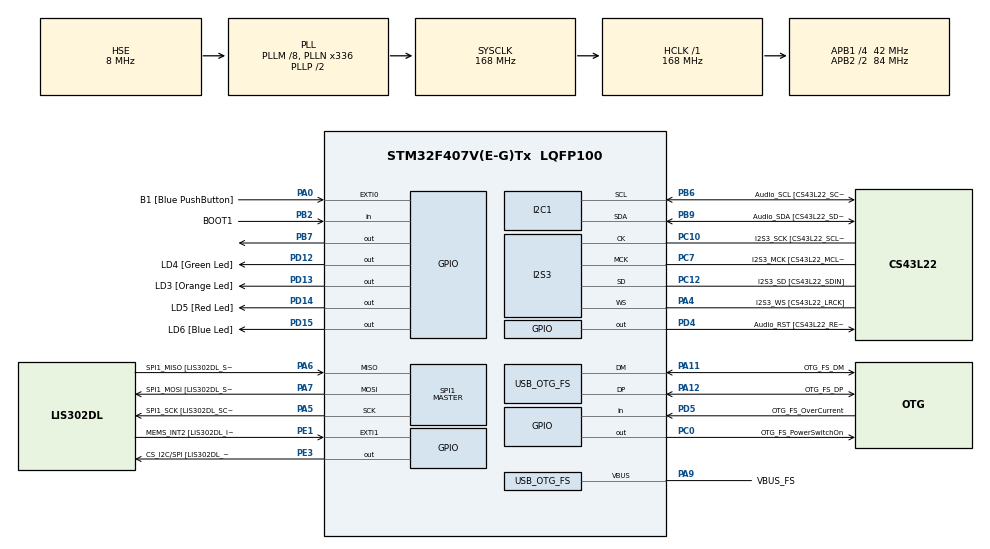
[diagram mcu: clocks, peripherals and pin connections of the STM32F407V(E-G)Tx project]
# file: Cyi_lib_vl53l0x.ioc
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I2S3.AudioFreq-Half_Duplex_Master=I2S_AUDIOFREQ_96K
I2S3.ErrorAudioFreq=-2.34 %
I2S3.ErrorAudioFreq-Half_Duplex_Master=0.8 %
I2S3.FullDuplexMode=I2S_FULLDUPLEXMODE_DISABLE
I2S3.Instance=SPI$Index
I2S3.RealAudioFreq=93.75 KHz
I2S3.RealAudioFreq-Half_Duplex_Master=96.774 KHz
I2S3.VirtualMode=I2S_MODE_MASTER
Mcu.Family=STM32F4
Mcu.Name=STM32F407V(E-G)Tx
Mcu.Package=LQFP100
NVIC.OTG_FS_IRQn=true\:0\:0\:false\:false\:true\:true\:true
NVIC.PriorityGroup=NVIC_PRIORITYGROUP_0
PA0-WKUP.GPIO_Label=B1 [Blue PushButton]
PA0-WKUP.GPIO_ModeDefaultEXTI=GPIO_MODE_EVT_RISING
PA0-WKUP.GPIO_PuPd=GPIO_NOPULL
PA0-WKUP.Signal=GPXTI0
PA10.GPIO_Label=OTG_FS_ID
PA10.GPIO_Mode=GPIO_MODE_AF_PP
PA10.GPIO_PuPd=GPIO_NOPULL
PA10.GPIO_Speed=GPIO_SPEED_FREQ_LOW
PA10.Signal=USB_OTG_FS_ID
PA11.GPIO_Label=OTG_FS_DM
PA11.GPIO_Mode=GPIO_MODE_AF_PP
PA11.GPIO_PuPd=GPIO_NOPULL
PA11.GPIO_Speed=GPIO_SPEED_FREQ_LOW
PA11.Mode=Host_Only
PA11.Signal=USB_OTG_FS_DM
PA12.GPIO_Label=OTG_FS_DP
PA12.GPIO_Mode=GPIO_MODE_AF_PP
PA12.GPIO_PuPd=GPIO_NOPULL
PA12.GPIO_Speed=GPIO_SPEED_FREQ_LOW
PA12.Mode=Host_Only
PA12.Signal=USB_OTG_FS_DP
PA13.GPIO_Label=SWDIO
PA13.Mode=Serial_Wire
PA13.Signal=SYS_JTMS-SWDIO
PA14.GPIO_Label=SWCLK
PA14.Mode=Serial_Wire
PA14.Signal=SYS_JTCK-SWCLK
PA4.GPIO_Label=I2S3_WS [CS43L22_LRCK]
PA4.GPIO_Mode=GPIO_MODE_AF_PP
PA4.GPIO_PuPd=GPIO_NOPULL
PA4.GPIO_Speed=GPIO_SPEED_FREQ_LOW
PA4.Mode=Half_Duplex_Master
PA4.Signal=I2S3_WS
PA5.GPIO_Label=SPI1_SCK [LIS302DL_SCL/SPC]
PA5.GPIO_Mode=GPIO_MODE_AF_PP
PA5.GPIO_PuPd=GPIO_NOPULL
PA5.GPIO_Speed=GPIO_SPEED_FREQ_LOW
PA5.Mode=Full_Duplex_Master
PA5.Signal=SPI1_SCK
PA6.GPIO_Label=SPI1_MISO [LIS302DL_SDO]
PA6.GPIO_Mode=GPIO_MODE_AF_PP
PA6.GPIO_PuPd=GPIO_NOPULL
PA6.GPIO_Speed=GPIO_SPEED_FREQ_LOW
PA6.Mode=Full_Duplex_Master
PA6.Signal=SPI1_MISO
PA7.GPIO_Label=SPI1_MOSI [LIS302DL_SDA/SDI/SDO]
PA7.GPIO_Mode=GPIO_MODE_AF_PP
PA7.GPIO_PuPd=GPIO_NOPULL
PA7.GPIO_Speed=GPIO_SPEED_FREQ_LOW
PA7.Mode=Full_Duplex_Master
PA7.Signal=SPI1_MOSI
PA9.GPIO_Label=VBUS_FS
PA9.GPIO_Mode=GPIO_MODE_INPUT
PA9.GPIO_PuPd=GPIO_NOPULL
PA9.Mode=Activate_VBUS
PA9.Signal=USB_OTG_FS_VBUS
PB10.GPIO_Label=CLK_IN [MP45DT02_CLK]
PB10.GPIO_Mode=GPIO_MODE_AF_PP
PB10.GPIO_PuPd=GPIO_NOPULL
PB10.GPIO_Speed=GPIO_SPEED_FREQ_LOW
PB10.Signal=I2S2_CK
PB2.GPIO_Label=BOOT1
PB2.GPIO_Mode=GPIO_MODE_INPUT
PB2.GPIO_PuPd=GPIO_NOPULL
PB2.Signal=GPIO_Input
PB3.GPIO_Label=SWO
PB3.Signal=SYS_JTDO-SWO
PB6.GPIO_Label=Audio_SCL [CS43L22_SCL]
PB6.GPIO_Mode=GPIO_MODE_AF_OD
PB6.GPIO_PuPd=GPIO_NOPULL
PB6.GPIO_Speed=GPIO_SPEED_FREQ_LOW
PB6.Mode=I2C
PB6.Signal=I2C1_SCL
PB7.Signal=GPIO_Output
PB9.GPIO_Label=Audio_SDA [CS43L22_SDA]
PB9.GPIO_Mode=GPIO_MODE_AF_OD
PB9.GPIO_PuPd=GPIO_NOPULL
PB9.GPIO_Speed=GPIO_SPEED_FREQ_LOW
PB9.Mode=I2C
PB9.Signal=I2C1_SDA
PC0.GPIO_Label=OTG_FS_PowerSwitchOn
PC0.GPIO_PuPd=GPIO_NOPULL
PC0.GPIO_Speed=GPIO_SPEED_FREQ_LOW
PC0.PinState=GPIO_PIN_SET
PC0.Signal=GPIO_Output
PC10.GPIO_Label=I2S3_SCK [CS43L22_SCLK]
PC10.GPIO_Mode=GPIO_MODE_AF_PP
PC10.GPIO_PuPd=GPIO_NOPULL
PC10.GPIO_Speed=GPIO_SPEED_FREQ_LOW
PC10.Mode=Half_Duplex_Master
PC10.Signal=I2S3_CK
PC12.GPIO_Label=I2S3_SD [CS43L22_SDIN]
PC12.GPIO_Mode=GPIO_MODE_AF_PP
PC12.GPIO_PuPd=GPIO_NOPULL
PC12.GPIO_Speed=GPIO_SPEED_FREQ_LOW
PC12.Mode=Half_Duplex_Master
PC12.Signal=I2S3_SD
PC14-OSC32_IN.GPIO_Label=PC14-OSC32_IN
PC14-OSC32_IN.Mode=LSE-External-Oscillator
PC14-OSC32_IN.Signal=RCC_OSC32_IN
PC15-OSC32_OUT.GPIO_Label=PC15-OSC32_OUT
PC15-OSC32_OUT.Mode=LSE-External-Oscillator
PC15-OSC32_OUT.Signal=RCC_OSC32_OUT
PC3.GPIO_Label=PDM_OUT [MP45DT02_DOUT]
PC3.GPIO_Mode=GPIO_MODE_AF_PP
PC3.GPIO_PuPd=GPIO_NOPULL
PC3.GPIO_Speed=GPIO_SPEED_FREQ_LOW
PC3.Signal=I2S2_SD
PC7.GPIO_Label=I2S3_MCK [CS43L22_MCLK]
PC7.GPIO_Mode=GPIO_MODE_AF_PP
PC7.GPIO_PuPd=GPIO_NOPULL
PC7.GPIO_Speed=GPIO_SPEED_FREQ_LOW
PC7.Mode=Master_Clock_Activated
PC7.Signal=I2S3_MCK
PD12.GPIO_Label=LD4 [Green Led]
PD12.GPIO_PuPd=GPIO_NOPULL
PD12.GPIO_Speed=GPIO_SPEED_FREQ_LOW
PD12.Signal=GPIO_Output
PD13.GPIO_Label=LD3 [Orange Led]
PD13.GPIO_PuPd=GPIO_NOPULL
PD13.GPIO_Speed=GPIO_SPEED_FREQ_LOW
PD13.Signal=GPIO_Output
PD14.GPIO_Label=LD5 [Red Led]
PD14.GPIO_PuPd=GPIO_NOPULL
PD14.GPIO_Speed=GPIO_SPEED_FREQ_LOW
PD14.Signal=GPIO_Output
PD15.GPIO_Label=LD6 [Blue Led]
PD15.GPIO_PuPd=GPIO_NOPULL
PD15.GPIO_Speed=GPIO_SPEED_FREQ_LOW
PD15.Signal=GPIO_Output
PD4.GPIO_Label=Audio_RST [CS43L22_RESET]
PD4.GPIO_PuPd=GPIO_NOPULL
PD4.GPIO_Speed=GPIO_SPEED_FREQ_LOW
PD4.Signal=GPIO_Output
PD5.GPIO_Label=OTG_FS_OverCurrent
PD5.GPIO_Mode=GPIO_MODE_INPUT
PD5.GPIO_PuPd=GPIO_NOPULL
PD5.Signal=GPIO_Input
PE1.GPIO_Label=MEMS_INT2 [LIS302DL_INT2]
PE1.GPIO_ModeDefaultEXTI=GPIO_MODE_EVT_RISING
PE1.GPIO_PuPd=GPIO_NOPULL
PE1.Signal=GPXTI1
PE3.GPIO_Label=CS_I2C/SPI [LIS302DL_CS_I2C/SPI]
PE3.GPIO_PuPd=GPIO_NOPULL
PE3.GPIO_Speed=GPIO_SPEED_FREQ_LOW
PE3.Signal=GPIO_Output
PH0-OSC_IN.GPIO_Label=PH0-OSC_IN
PH0-OSC_IN.Mode=HSE-External-Oscillator
PH0-OSC_IN.Signal=RCC_OSC_IN
PH1-OSC_OUT.GPIO_Label=PH1-OSC_OUT
PH1-OSC_OUT.Mode=HSE-External-Oscillator
PH1-OSC_OUT.Signal=RCC_OSC_OUT
ProjectManager.HeapSize=0x200
ProjectManager.StackSize=0x400
ProjectManager.TargetToolchain=SW4STM32
RCC.48MHZClocksFreq_Value=48000000
RCC.AHBFreq_Value=168000000
RCC.APB1CLKDivider=RCC_HCLK_DIV4
RCC.APB1Freq_Value=42000000
RCC.APB1TimFreq_Value=84000000
RCC.APB2CLKDivider=RCC_HCLK_DIV2
RCC.APB2Freq_Value=84000000
RCC.APB2TimFreq_Value=168000000
RCC.CortexFreq_Value=168000000
RCC.HCLKFreq_Value=168000000
RCC.HSE_VALUE=8000000
RCC.HSI_VALUE=16000000
RCC.PLLM=8
RCC.PLLN=336
RCC.PLLQ=7
RCC.SYSCLKFreq_VALUE=168000000
RCC.SYSCLKSource=RCC_SYSCLKSOURCE_PLLCLK
RCC.VCOOutputFreq_Value=336000000
SPI1.BaudRatePrescaler-Full_Duplex_Master=SPI_BAUDRATEPRESCALER_2
SPI1.CalculateBaudRate-Full_Duplex_Master=42.0 MBits/s
SPI1.Direction=SPI_DIRECTION_2LINES
SPI1.Mode=SPI_MODE_MASTER
SPI1.Mode-Full_Duplex_Master=SPI_MODE_MASTER
SPI1.VirtualType=VM_MASTER
USB_HOST.BSP.number=1
USB_HOST.USBH_HandleTypeDef-CDC_FS=hUsbHostFS
USB_HOST.VirtualModeFS=Cdc
USB_HOST0.BSP.STBoard=false
USB_HOST0.BSP.api=Unknown
USB_HOST0.BSP.i2caddr=0
USB_HOST0.BSP.i2creg=0
USB_HOST0.BSP.instance=PC0
USB_HOST0.BSP.ip=GPIO
USB_HOST0.BSP.mode=Output
USB_HOST0.BSP.name=Drive_VBUS_FS
USB_HOST0.BSP.solution=PC0
USB_OTG_FS.VirtualMode=Host_Only
USB_OTG_FS.phy_itface=HCD_PHY_EMBEDDED
VP_USB_HOST_VS_USB_HOST_CDC_FS.Mode=CDC_FS
board=STM32F407G-DISC1

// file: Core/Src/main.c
/* USER CODE BEGIN Header */
/**
  ******************************************************************************
  * @file           : main.c
  * @brief          : Main program body
  ******************************************************************************
  * @attention
  *
  * <h2><center>&copy; Copyright (c) 2020 STMicroelectronics.
  * All rights reserved.</center></h2>
  *
  * This software component is licensed by ST under Ultimate Liberty license
  * SLA0044, the "License"; You may not use this file except in compliance with
  * the License. You may obtain a copy of the License at:
  *                             www.st.com/SLA0044
  *
  ******************************************************************************
  */
/* USER CODE END Header */
#include "main.h"
#include "usb_host.h"

/* USER CODE BEGIN Includes */
#include "VL53L0X.h"
/* USER CODE END Includes */

/* USER CODE BEGIN PTD */

#define LONG_RANGE

// Uncomment ONE of these two lines to get
// - higher speed at the cost of lower accuracy OR
// - higher accuracy at the cost of lower speed

//#define HIGH_SPEED
//#define HIGH_ACCURACY
/* USER CODE END PTD */

I2C_HandleTypeDef hi2c1;

I2S_HandleTypeDef hi2s3;

SPI_HandleTypeDef hspi1;

void SystemClock_Config(void);
static void MX_GPIO_Init(void);
static void MX_I2C1_Init(void);
static void MX_I2S3_Init(void);
static void MX_SPI1_Init(void);
void MX_USB_HOST_Process(void);

/* USER CODE BEGIN 0 */
struct VL53L0X myTOFsensor = {.io_2v8 = true, .address = 0x52, .io_timeout = 500, .did_timeout = false,.hi2c = &hi2c1};
uint16_t value;
uint16_t tick;
/* USER CODE END 0 */

int main(void)
{

  /* MCU Configuration--------------------------------------------------------*/

  /* Reset of all peripherals, Initializes the Flash interface and the Systick. */
  HAL_Init();

  /* Configure the system clock */
  SystemClock_Config();

  /* Initialize all configured peripherals */
  MX_GPIO_Init();
  MX_I2C1_Init();
  MX_I2S3_Init();
  MX_SPI1_Init();
  MX_USB_HOST_Init();
  /* USER CODE BEGIN 2 */
  /*
  uint8_t write_temp[2] = {0x23,0x46};
  uint8_t data_t[3];
  uint8_t memAdd[1] = {0xC0};
  uint16_t range_val;
*/
  HAL_GPIO_WritePin(GPIOB,GPIO_PIN_7,RESET);
  HAL_Delay(2);
  HAL_GPIO_WritePin(GPIOB,GPIO_PIN_7,SET);
  HAL_Delay(2);
	 VL53L0X_init(&myTOFsensor);
#ifdef LONG_RANGE
	// lower the return signal rate limit (default is 0.25 MCPS)
	VL53L0X_setSignalRateLimit(&myTOFsensor, 0.1);
	// increase laser pulse periods (defaults are 14 and 10 PCLKs)
	VL53L0X_setVcselPulsePeriod(&myTOFsensor, VcselPeriodPreRange, 18);
	VL53L0X_setVcselPulsePeriod(&myTOFsensor, VcselPeriodFinalRange, 14);
#endif
#ifdef HIGH_SPEED
	// reduce timing budget to 20 ms (default is about 33 ms)
	VL53L0X_setMeasurementTimingBudget(&myTOFsensor, 20000);

#else //HIGH_ACCURACY
	// increase timing budget to 200 ms
	VL53L0X_setMeasurementTimingBudget(&myTOFsensor, 200000);
#endif

	VL53L0X_startContinuous(&myTOFsensor, 0);
  /* USER CODE END 2 */

  /* Infinite loop */
  while (1)
  {
    MX_USB_HOST_Process();

    /* USER CODE BEGIN 3 */
	 //I2C_writemem(&hi2c1,0x52,write_temp,3);
	// HAL_I2C_Master_Transmit(&hi2c1,0x52,write_temp,3,100);
	 //VL53L0X_setAddress(0x56);
	// I2C_readmem(&hi2c1,0x52,0x23,data_t,3);
	 //write_temp[1]++;
     tick = HAL_GetTick();
     value = VL53L0X_readRangeContinuousMillimeters(&myTOFsensor);

    		 if ( VL53L0X_timeoutOccurred(&myTOFsensor) ) {

    		 }

  }
  /* USER CODE END 3 */
}

void SystemClock_Config(void)
{
  RCC_OscInitTypeDef RCC_OscInitStruct = {0};
  RCC_ClkInitTypeDef RCC_ClkInitStruct = {0};
  RCC_PeriphCLKInitTypeDef PeriphClkInitStruct = {0};

  /** Configure the main internal regulator output voltage
  */
  __HAL_RCC_PWR_CLK_ENABLE();
  __HAL_PWR_VOLTAGESCALING_CONFIG(PWR_REGULATOR_VOLTAGE_SCALE1);
  /** Initializes the RCC Oscillators according to the specified parameters
  * in the RCC_OscInitTypeDef structure.
  */
  RCC_OscInitStruct.OscillatorType = RCC_OSCILLATORTYPE_HSE;
  RCC_OscInitStruct.HSEState = RCC_HSE_ON;
  RCC_OscInitStruct.PLL.PLLState = RCC_PLL_ON;
  RCC_OscInitStruct.PLL.PLLSource = RCC_PLLSOURCE_HSE;
  RCC_OscInitStruct.PLL.PLLM = 8;
  RCC_OscInitStruct.PLL.PLLN = 336;
  RCC_OscInitStruct.PLL.PLLP = RCC_PLLP_DIV2;
  RCC_OscInitStruct.PLL.PLLQ = 7;
  if (HAL_RCC_OscConfig(&RCC_OscInitStruct) != HAL_OK)
  {
    Error_Handler();
  }
  /** Initializes the CPU, AHB and APB buses clocks
  */
  RCC_ClkInitStruct.ClockType = RCC_CLOCKTYPE_HCLK|RCC_CLOCKTYPE_SYSCLK
                              |RCC_CLOCKTYPE_PCLK1|RCC_CLOCKTYPE_PCLK2;
  RCC_ClkInitStruct.SYSCLKSource = RCC_SYSCLKSOURCE_PLLCLK;
  RCC_ClkInitStruct.AHBCLKDivider = RCC_SYSCLK_DIV1;
  RCC_ClkInitStruct.APB1CLKDivider = RCC_HCLK_DIV4;
  RCC_ClkInitStruct.APB2CLKDivider = RCC_HCLK_DIV2;

  if (HAL_RCC_ClockConfig(&RCC_ClkInitStruct, FLASH_LATENCY_5) != HAL_OK)
  {
    Error_Handler();
  }
  PeriphClkInitStruct.PeriphClockSelection = RCC_PERIPHCLK_I2S;
  PeriphClkInitStruct.PLLI2S.PLLI2SN = 192;
  PeriphClkInitStruct.PLLI2S.PLLI2SR = 2;
  if (HAL_RCCEx_PeriphCLKConfig(&PeriphClkInitStruct) != HAL_OK)
  {
    Error_Handler();
  }
}

static void MX_I2C1_Init(void)
{

  hi2c1.Instance = I2C1;
  hi2c1.Init.ClockSpeed = 100000;
  hi2c1.Init.DutyCycle = I2C_DUTYCYCLE_2;
  hi2c1.Init.OwnAddress1 = 0;
  hi2c1.Init.AddressingMode = I2C_ADDRESSINGMODE_7BIT;
  hi2c1.Init.DualAddressMode = I2C_DUALADDRESS_DISABLE;
  hi2c1.Init.OwnAddress2 = 0;
  hi2c1.Init.GeneralCallMode = I2C_GENERALCALL_DISABLE;
  hi2c1.Init.NoStretchMode = I2C_NOSTRETCH_DISABLE;
  if (HAL_I2C_Init(&hi2c1) != HAL_OK)
  {
    Error_Handler();
  }

}

static void MX_I2S3_Init(void)
{

  hi2s3.Instance = SPI3;
  hi2s3.Init.Mode = I2S_MODE_MASTER_TX;
  hi2s3.Init.Standard = I2S_STANDARD_PHILIPS;
  hi2s3.Init.DataFormat = I2S_DATAFORMAT_16B;
  hi2s3.Init.MCLKOutput = I2S_MCLKOUTPUT_ENABLE;
  hi2s3.Init.AudioFreq = I2S_AUDIOFREQ_96K;
  hi2s3.Init.CPOL = I2S_CPOL_LOW;
  hi2s3.Init.ClockSource = I2S_CLOCK_PLL;
  hi2s3.Init.FullDuplexMode = I2S_FULLDUPLEXMODE_DISABLE;
  if (HAL_I2S_Init(&hi2s3) != HAL_OK)
  {
    Error_Handler();
  }

}

static void MX_SPI1_Init(void)
{

  /* SPI1 parameter configuration*/
  hspi1.Instance = SPI1;
  hspi1.Init.Mode = SPI_MODE_MASTER;
  hspi1.Init.Direction = SPI_DIRECTION_2LINES;
  hspi1.Init.DataSize = SPI_DATASIZE_8BIT;
  hspi1.Init.CLKPolarity = SPI_POLARITY_LOW;
  hspi1.Init.CLKPhase = SPI_PHASE_1EDGE;
  hspi1.Init.NSS = SPI_NSS_SOFT;
  hspi1.Init.BaudRatePrescaler = SPI_BAUDRATEPRESCALER_2;
  hspi1.Init.FirstBit = SPI_FIRSTBIT_MSB;
  hspi1.Init.TIMode = SPI_TIMODE_DISABLE;
  hspi1.Init.CRCCalculation = SPI_CRCCALCULATION_DISABLE;
  hspi1.Init.CRCPolynomial = 10;
  if (HAL_SPI_Init(&hspi1) != HAL_OK)
  {
    Error_Handler();
  }

}

static void MX_GPIO_Init(void)
{
  GPIO_InitTypeDef GPIO_InitStruct = {0};

  /* GPIO Ports Clock Enable */
  __HAL_RCC_GPIOE_CLK_ENABLE();
  __HAL_RCC_GPIOC_CLK_ENABLE();
  __HAL_RCC_GPIOH_CLK_ENABLE();
  __HAL_RCC_GPIOA_CLK_ENABLE();
  __HAL_RCC_GPIOB_CLK_ENABLE();
  __HAL_RCC_GPIOD_CLK_ENABLE();

  /*Configure GPIO pin Output Level */
  HAL_GPIO_WritePin(CS_I2C_SPI_GPIO_Port, CS_I2C_SPI_Pin, GPIO_PIN_RESET);

  /*Configure GPIO pin Output Level */
  HAL_GPIO_WritePin(OTG_FS_PowerSwitchOn_GPIO_Port, OTG_FS_PowerSwitchOn_Pin, GPIO_PIN_SET);

  /*Configure GPIO pin Output Level */
  HAL_GPIO_WritePin(GPIOD, LD4_Pin|LD3_Pin|LD5_Pin|LD6_Pin
                          |Audio_RST_Pin, GPIO_PIN_RESET);

  /*Configure GPIO pin Output Level */
  HAL_GPIO_WritePin(GPIOB, GPIO_PIN_7, GPIO_PIN_RESET);

  /*Configure GPIO pin : CS_I2C_SPI_Pin */
  GPIO_InitStruct.Pin = CS_I2C_SPI_Pin;
  GPIO_InitStruct.Mode = GPIO_MODE_OUTPUT_PP;
  GPIO_InitStruct.Pull = GPIO_NOPULL;
  GPIO_InitStruct.Speed = GPIO_SPEED_FREQ_LOW;
  HAL_GPIO_Init(CS_I2C_SPI_GPIO_Port, &GPIO_InitStruct);

  /*Configure GPIO pin : OTG_FS_PowerSwitchOn_Pin */
  GPIO_InitStruct.Pin = OTG_FS_PowerSwitchOn_Pin;
  GPIO_InitStruct.Mode = GPIO_MODE_OUTPUT_PP;
  GPIO_InitStruct.Pull = GPIO_NOPULL;
  GPIO_InitStruct.Speed = GPIO_SPEED_FREQ_LOW;
  HAL_GPIO_Init(OTG_FS_PowerSwitchOn_GPIO_Port, &GPIO_InitStruct);

  /*Configure GPIO pin : PDM_OUT_Pin */
  GPIO_InitStruct.Pin = PDM_OUT_Pin;
  GPIO_InitStruct.Mode = GPIO_MODE_AF_PP;
  GPIO_InitStruct.Pull = GPIO_NOPULL;
  GPIO_InitStruct.Speed = GPIO_SPEED_FREQ_LOW;
  GPIO_InitStruct.Alternate = GPIO_AF5_SPI2;
  HAL_GPIO_Init(PDM_OUT_GPIO_Port, &GPIO_InitStruct);

  /*Configure GPIO pin : B1_Pin */
  GPIO_InitStruct.Pin = B1_Pin;
  GPIO_InitStruct.Mode = GPIO_MODE_EVT_RISING;
  GPIO_InitStruct.Pull = GPIO_NOPULL;
  HAL_GPIO_Init(B1_GPIO_Port, &GPIO_InitStruct);

  /*Configure GPIO pin : BOOT1_Pin */
  GPIO_InitStruct.Pin = BOOT1_Pin;
  GPIO_InitStruct.Mode = GPIO_MODE_INPUT;
  GPIO_InitStruct.Pull = GPIO_NOPULL;
  HAL_GPIO_Init(BOOT1_GPIO_Port, &GPIO_InitStruct);

  /*Configure GPIO pin : CLK_IN_Pin */
  GPIO_InitStruct.Pin = CLK_IN_Pin;
  GPIO_InitStruct.Mode = GPIO_MODE_AF_PP;
  GPIO_InitStruct.Pull = GPIO_NOPULL;
  GPIO_InitStruct.Speed = GPIO_SPEED_FREQ_LOW;
  GPIO_InitStruct.Alternate = GPIO_AF5_SPI2;
  HAL_GPIO_Init(CLK_IN_GPIO_Port, &GPIO_InitStruct);

  /*Configure GPIO pins : LD4_Pin LD3_Pin LD5_Pin LD6_Pin
                           Audio_RST_Pin */
  GPIO_InitStruct.Pin = LD4_Pin|LD3_Pin|LD5_Pin|LD6_Pin
                          |Audio_RST_Pin;
  GPIO_InitStruct.Mode = GPIO_MODE_OUTPUT_PP;
  GPIO_InitStruct.Pull = GPIO_NOPULL;
  GPIO_InitStruct.Speed = GPIO_SPEED_FREQ_LOW;
  HAL_GPIO_Init(GPIOD, &GPIO_InitStruct);

  /*Configure GPIO pin : OTG_FS_OverCurrent_Pin */
  GPIO_InitStruct.Pin = OTG_FS_OverCurrent_Pin;
  GPIO_InitStruct.Mode = GPIO_MODE_INPUT;
  GPIO_InitStruct.Pull = GPIO_NOPULL;
  HAL_GPIO_Init(OTG_FS_OverCurrent_GPIO_Port, &GPIO_InitStruct);

  /*Configure GPIO pin : PB7 */
  GPIO_InitStruct.Pin = GPIO_PIN_7;
  GPIO_InitStruct.Mode = GPIO_MODE_OUTPUT_PP;
  GPIO_InitStruct.Pull = GPIO_NOPULL;
  GPIO_InitStruct.Speed = GPIO_SPEED_FREQ_LOW;
  HAL_GPIO_Init(GPIOB, &GPIO_InitStruct);

  /*Configure GPIO pin : MEMS_INT2_Pin */
  GPIO_InitStruct.Pin = MEMS_INT2_Pin;
  GPIO_InitStruct.Mode = GPIO_MODE_EVT_RISING;
  GPIO_InitStruct.Pull = GPIO_NOPULL;
  HAL_GPIO_Init(MEMS_INT2_GPIO_Port, &GPIO_InitStruct);

}

void Error_Handler(void)
{
}

/************************ (C) COPYRIGHT STMicroelectronics *****END OF FILE****/
